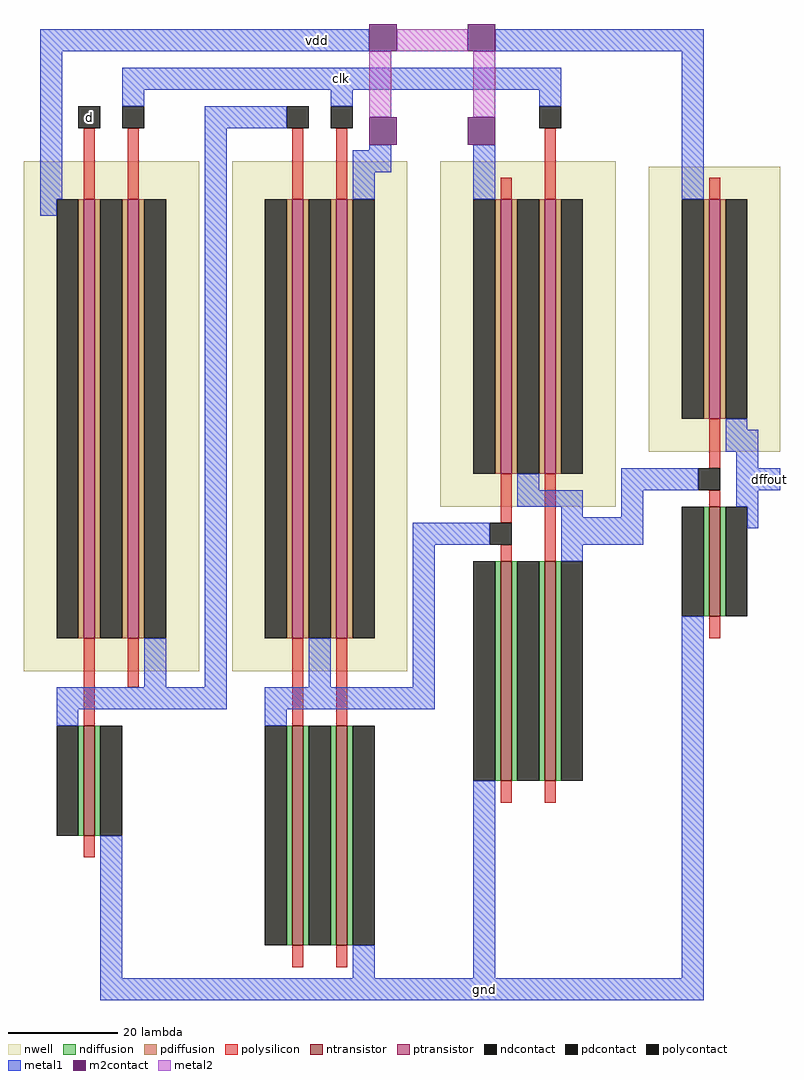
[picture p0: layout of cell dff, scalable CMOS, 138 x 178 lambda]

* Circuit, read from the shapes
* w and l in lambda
.subckt dff clk d dffout gnd vdd
M1 gnd d n1 VSUBS nfet w=20 l=2
M2 n2 n1 n3 VSUBS nfet w=40 l=2
M3 gnd clk n2 VSUBS nfet w=40 l=2
M4 n4 n3 gnd VSUBS nfet w=40 l=2
M5 n5 clk n4 VSUBS nfet w=40 l=2
M6 dffout n5 gnd VSUBS nfet w=20 l=2
M7 n6 d vdd n7 pfet w=80 l=2
M8 n1 clk n6 n7 pfet w=80 l=2
M9 n3 n1 n8 n9 pfet w=80 l=2
M10 vdd clk n3 n9 pfet w=80 l=2
M11 n5 n3 vdd n10 pfet w=50 l=2
M12 n11 clk n5 n10 pfet w=50 l=2
M13 dffout n5 vdd n12 pfet w=40 l=2
.ends

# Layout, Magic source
magic
tech scmos
<< nwell >>
rect 12 53 44 146
rect 50 53 82 146
rect 88 83 120 146
rect 126 93 150 145
<< ntransistor >>
rect 23 23 25 43
rect 61 3 63 43
rect 69 3 71 43
rect 99 33 101 73
rect 107 33 109 73
rect 137 63 139 83
<< ptransistor >>
rect 23 59 25 139
rect 31 59 33 139
rect 61 59 63 139
rect 69 59 71 139
rect 99 89 101 139
rect 107 89 109 139
rect 137 99 139 139
<< ndiffusion >>
rect 22 23 23 43
rect 25 23 26 43
rect 60 3 61 43
rect 63 3 64 43
rect 68 3 69 43
rect 71 3 72 43
rect 98 33 99 73
rect 101 33 102 73
rect 106 33 107 73
rect 109 33 110 73
rect 136 63 137 83
rect 139 63 140 83
<< pdiffusion >>
rect 22 59 23 139
rect 25 59 26 139
rect 30 59 31 139
rect 33 59 34 139
rect 60 59 61 139
rect 63 59 64 139
rect 68 59 69 139
rect 71 59 72 139
rect 98 89 99 139
rect 101 89 102 139
rect 106 89 107 139
rect 109 89 110 139
rect 136 99 137 139
rect 139 99 140 139
<< ndcontact >>
rect 18 23 22 43
rect 26 23 30 43
rect 56 3 60 43
rect 64 3 68 43
rect 72 3 76 43
rect 94 33 98 73
rect 102 33 106 73
rect 110 33 114 73
rect 132 63 136 83
rect 140 63 144 83
<< pdcontact >>
rect 18 59 22 139
rect 26 59 30 139
rect 34 59 38 139
rect 56 59 60 139
rect 64 59 68 139
rect 72 59 76 139
rect 94 89 98 139
rect 102 89 106 139
rect 110 89 114 139
rect 132 99 136 139
rect 140 99 144 139
<< polysilicon >>
rect 23 139 25 152
rect 31 139 33 152
rect 61 139 63 152
rect 69 139 71 152
rect 99 139 101 143
rect 107 139 109 152
rect 137 139 139 143
rect 137 90 139 99
rect 99 80 101 89
rect 99 73 101 76
rect 107 73 109 89
rect 137 83 139 86
rect 23 43 25 59
rect 31 50 33 59
rect 61 43 63 59
rect 69 43 71 59
rect 23 19 25 23
rect 137 59 139 63
rect 99 29 101 33
rect 107 29 109 33
rect 61 -1 63 3
rect 69 -1 71 3
<< polycontact >>
rect 22 152 26 156
rect 30 152 34 156
rect 60 152 64 156
rect 68 152 72 156
rect 106 152 110 156
rect 97 76 101 80
rect 135 86 139 90
<< metal1 >>
rect 15 166 75 170
rect 98 166 136 170
rect 15 139 19 166
rect 30 159 110 163
rect 30 156 34 159
rect 68 156 72 159
rect 45 152 60 156
rect 106 156 110 159
rect 15 136 18 139
rect 34 50 38 59
rect 45 50 49 152
rect 75 148 79 149
rect 72 144 79 148
rect 72 139 76 144
rect 94 139 98 149
rect 132 139 136 166
rect 140 97 144 99
rect 140 93 146 97
rect 142 90 146 93
rect 102 86 106 89
rect 121 86 135 90
rect 142 86 150 90
rect 102 83 114 86
rect 110 81 114 83
rect 121 81 125 86
rect 142 83 146 86
rect 83 76 97 80
rect 110 76 125 81
rect 64 50 68 59
rect 83 50 87 76
rect 110 73 114 76
rect 18 46 49 50
rect 56 46 87 50
rect 18 43 22 46
rect 56 43 60 46
rect 26 -3 30 23
rect 72 -3 76 3
rect 144 79 146 83
rect 94 -3 98 33
rect 132 -3 136 63
rect 26 -7 136 -3
<< m2contact >>
rect 75 166 80 171
rect 93 166 98 171
rect 75 149 80 154
rect 93 149 98 154
<< metal2 >>
rect 80 166 93 170
rect 75 154 79 166
rect 94 154 98 166
<< labels >>
rlabel metal1 68 159 72 163 1 clk
rlabel metal1 146 86 150 90 7 dffout
rlabel metal1 94 -7 98 -3 1 gnd
rlabel polycontact 22 152 26 156 1 d
rlabel metal1 61 166 70 170 5 vdd
<< end >>
